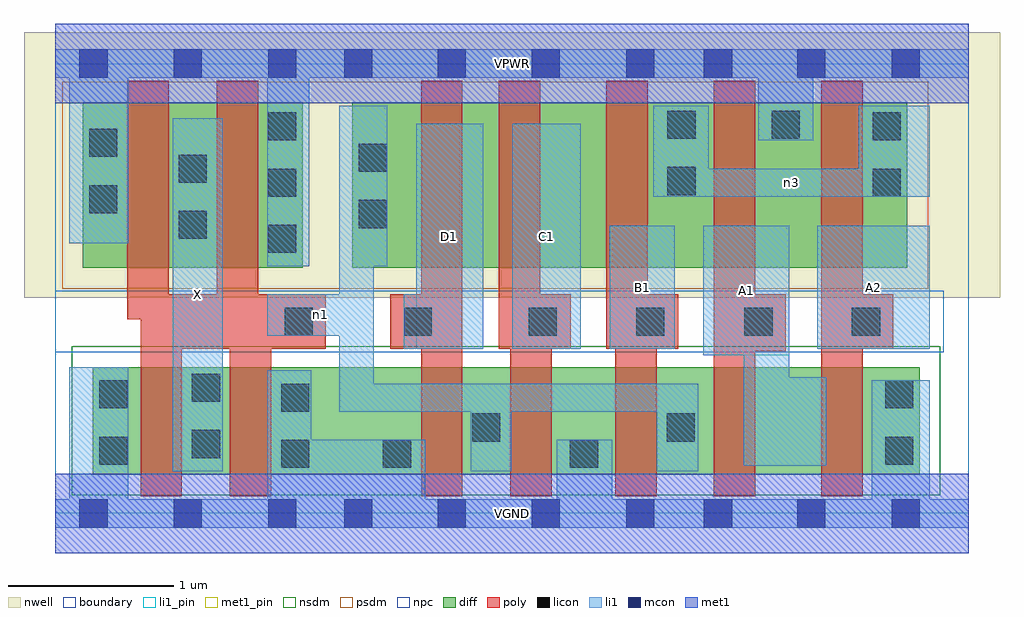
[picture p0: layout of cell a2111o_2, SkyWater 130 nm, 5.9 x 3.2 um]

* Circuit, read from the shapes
.subckt a2111o_2 A1 A2 B1 C1 D1 VGND VPWR X n1 n3
XM1 X n1 VGND VSUBS sky130_fd_pr__nfet_01v8 w=0.65 l=0.25 m=2
XM2 n1 D1 VGND VSUBS sky130_fd_pr__nfet_01v8 w=0.65 l=0.25
XM3 VGND C1 n1 VSUBS sky130_fd_pr__nfet_01v8 w=0.65 l=0.25
XM4 n1 B1 VGND VSUBS sky130_fd_pr__nfet_01v8 w=0.65 l=0.25
XM5 n2 A1 n1 VSUBS sky130_fd_pr__nfet_01v8 w=0.65 l=0.25
XM6 VGND A2 n2 VSUBS sky130_fd_pr__nfet_01v8 w=0.65 l=0.25
XM7 X n1 VPWR n4 sky130_fd_pr__pfet_01v8 w=1 l=0.25 m=2
XM8 n5 D1 n1 n4 sky130_fd_pr__pfet_01v8 w=1 l=0.25
XM9 n6 C1 n5 n4 sky130_fd_pr__pfet_01v8 w=1 l=0.25
XM10 n3 B1 n6 n4 sky130_fd_pr__pfet_01v8 w=1 l=0.25
XM11 VPWR A1 n3 n4 sky130_fd_pr__pfet_01v8 w=1 l=0.25
XM12 n3 A2 VPWR n4 sky130_fd_pr__pfet_01v8 w=1 l=0.25
.ends

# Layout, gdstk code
import gdstk
lib = gdstk.Library(unit=1e-6, precision=1e-09)
def R(c, l, rs):  # rectangles x0, y0, x1, y1
    for r in rs: c.add(gdstk.rectangle(r[:2], r[2:], *l))
def A(c, l, x, y, w, h, nx, ny, dx, dy):  # array of equal rectangles
    R(c, l, [(x+i*dx, y+j*dy, x+i*dx+w, y+j*dy+h) for i in range(nx) for j in range(ny)])
nwell = (64, 20)
diff = (65, 20)
poly = (66, 20)
licon = (66, 44)
li1_pin = (67, 16)
li1 = (67, 20)
mcon = (67, 44)
met1_pin = (68, 16)
met1 = (68, 20)
nsdm = (93, 44)
psdm = (94, 20)
npc = (95, 20)
boundary = (235, 4)

a2111o_2 = lib.new_cell('a2111o_2')
R(a2111o_2, nwell, [(-0.19,1.305,5.71,2.91), (0,1.305,5.52,2.91)])
R(a2111o_2, diff, [(0.225,0.235,5.225,0.885), (0.165,1.485,1.495,2.485), (1.795,1.485,5.15,2.485)])
R(a2111o_2, poly, [(0.515,0.105,0.765,1.325), (1.055,0.105,1.305,1.325), (2.21,0.105,2.46,2.615), (2.75,0.105,3,1.325), (3.385,0.105,3.635,1.325), (3.98,0.105,4.23,2.615), (4.63,0.105,4.88,2.615), (3.98,0.98,4.415,1.325), (0.515,0.995,1.635,1.325), (0.975,0.995,1.225,2.615), (2.025,0.995,2.46,1.325), (2.68,0.995,2.93,2.615), (2.68,0.995,3.115,1.325), (3.33,0.995,3.58,2.615), (3.33,0.995,3.765,1.325), (4.63,0.995,5.065,1.325), (0.435,1.175,0.685,2.615)])
A(a2111o_2, licon, 1.285, 1.575, 0.17, 0.17, 1, 3, 0, 0.34)
R(a2111o_2, licon, [(1.365,0.275,1.535,0.445), (1.98,0.275,2.15,0.445), (3.11,0.275,3.28,0.445), (0.265,0.295,0.435,0.465), (5.015,0.295,5.185,0.465), (0.825,0.335,0.995,0.505), (2.52,0.435,2.69,0.605), (3.695,0.435,3.865,0.605), (1.365,0.615,1.535,0.785), (0.265,0.635,0.435,0.805), (5.015,0.635,5.185,0.805), (0.825,0.675,0.995,0.845), (1.385,1.075,1.555,1.245), (2.105,1.075,2.275,1.245), (2.86,1.075,3.03,1.245), (3.51,1.075,3.68,1.245), (4.165,1.075,4.335,1.245), (4.815,1.075,4.985,1.245), (0.745,1.66,0.915,1.83), (1.835,1.725,2.005,1.895), (0.205,1.815,0.375,1.985), (4.94,1.915,5.11,2.085), (3.7,1.925,3.87,2.095), (0.745,2,0.915,2.17), (1.835,2.065,2.005,2.235), (0.205,2.155,0.375,2.325), (4.94,2.255,5.11,2.425), (3.7,2.265,3.87,2.435), (4.33,2.265,4.5,2.435)])
R(a2111o_2, li1_pin, [(0.71,0.255,1.01,2.39), (3.915,0.955,4.435,1.74), (2.18,0.995,2.585,2.355), (2.76,0.995,3.175,2.355), (3.35,0.995,3.745,1.74), (4.605,0.995,5.285,1.74)])
R(a2111o_2, li1, [(0,-0.085,5.52,0.085), (0.085,-0.085,0.44,0.885), (1.28,-0.085,2.235,0.445), (1.28,-0.085,1.545,0.865), (3.03,-0.085,3.365,0.445), (4.935,-0.085,5.285,0.805), (0.71,0.255,1.01,2.39), (2.51,0.255,2.755,0.785), (3.635,0.255,3.885,0.785), (4.16,0.29,4.435,1.74), (4.16,0.29,4.66,0.825), (1.715,0.615,1.925,2.465), (1.715,0.615,3.885,0.785), (3.915,0.955,4.435,1.74), (2.105,0.995,2.585,1.325), (2.18,0.995,2.585,2.355), (2.76,0.995,3.175,2.355), (3.35,0.995,3.745,1.74), (4.605,0.995,5.285,1.74), (1.28,1.075,1.925,1.325), (1.28,1.495,1.535,2.805), (1.715,1.495,2.005,2.465), (0.085,1.635,0.44,2.805), (3.615,1.915,5.285,2.085), (3.615,1.915,3.95,2.465), (4.855,1.915,5.285,2.465), (4.25,2.255,4.58,2.805), (0,2.635,5.52,2.805)])
A(a2111o_2, mcon, 0.145, -0.085, 0.17, 0.17, 3, 2, 0.57, 2.72)
A(a2111o_2, mcon, 2.31, -0.085, 0.17, 0.17, 3, 2, 0.57, 2.72)
R(a2111o_2, mcon, [(1.745,-0.085,1.915,0.085), (3.92,-0.085,4.09,0.085), (4.485,-0.085,4.655,0.085), (5.055,-0.085,5.225,0.085), (1.745,2.635,1.915,2.805), (3.92,2.635,4.09,2.805), (4.485,2.635,4.655,2.805), (5.055,2.635,5.225,2.805)])
R(a2111o_2, met1_pin, [(0,-0.24,5.52,0.24), (0,2.48,5.52,2.96)])
R(a2111o_2, met1, [(0,-0.24,5.52,0.24), (0,2.48,5.52,2.96)])
R(a2111o_2, nsdm, [(0.1,0.11,5.35,1.01)])
R(a2111o_2, psdm, [(0.04,1.36,5.275,2.61)])
R(a2111o_2, npc, [(0,0.975,5.37,1.345)])
R(a2111o_2, boundary, [(0,0,5.52,2.72)])
a2111o_2.add(gdstk.Label('A1', (4.175,1.347), layer=67, texttype=5))
a2111o_2.add(gdstk.Label('A2', (4.945,1.367), layer=67, texttype=5))
a2111o_2.add(gdstk.Label('B1', (3.547,1.367), layer=67, texttype=5))
a2111o_2.add(gdstk.Label('C1', (2.967,1.675), layer=67, texttype=5))
a2111o_2.add(gdstk.Label('D1', (2.382,1.675), layer=67, texttype=5))
a2111o_2.add(gdstk.Label('X', (0.86,1.322), layer=67, texttype=5))
a2111o_2.add(gdstk.Label('n1', (1.602,1.2), layer=67, texttype=5))
a2111o_2.add(gdstk.Label('n3', (4.45,2), layer=67, texttype=5))
a2111o_2.add(gdstk.Label('VPWR', (2.76,2.72), layer=68, texttype=5))
a2111o_2.add(gdstk.Label('VGND', (2.76,0), layer=68, texttype=5))
a2111o_2.add(gdstk.Label('A1', (4.175,1.347), layer=67, texttype=16))
a2111o_2.add(gdstk.Label('A2', (4.945,1.367), layer=67, texttype=16))
a2111o_2.add(gdstk.Label('B1', (3.547,1.367), layer=67, texttype=16))
a2111o_2.add(gdstk.Label('C1', (2.967,1.675), layer=67, texttype=16))
a2111o_2.add(gdstk.Label('D1', (2.382,1.675), layer=67, texttype=16))
a2111o_2.add(gdstk.Label('X', (0.86,1.322), layer=67, texttype=16))
a2111o_2.add(gdstk.Label('VPWR', (2.76,2.72), layer=68, texttype=16))
a2111o_2.add(gdstk.Label('VGND', (2.76,0), layer=68, texttype=16))

lib.write_gds('a2111o_2.gds')
